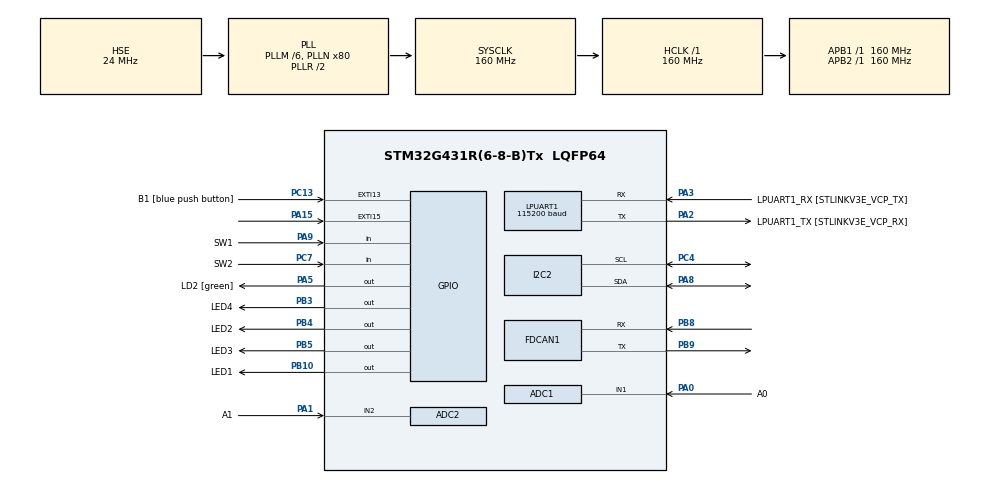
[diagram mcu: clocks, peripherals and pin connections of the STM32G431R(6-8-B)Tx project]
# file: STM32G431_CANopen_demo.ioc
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ADC1.Channel-0\#ChannelRegularConversion=ADC_CHANNEL_1
ADC1.ContinuousConvMode=DISABLE
ADC1.NbrOfConversionFlag=1
ADC1.OffsetNumber-0\#ChannelRegularConversion=ADC_OFFSET_NONE
ADC1.Rank-0\#ChannelRegularConversion=1
ADC1.SamplingTime-0\#ChannelRegularConversion=ADC_SAMPLETIME_2CYCLES_5
ADC1.master=1
ADC2.Channel-0\#ChannelRegularConversion=ADC_CHANNEL_2
ADC2.NbrOfConversionFlag=1
ADC2.OffsetNumber-0\#ChannelRegularConversion=ADC_OFFSET_NONE
ADC2.Rank-0\#ChannelRegularConversion=1
ADC2.SamplingTime-0\#ChannelRegularConversion=ADC_SAMPLETIME_2CYCLES_5
FDCAN1.CalculateBaudRateNominal=1000000
FDCAN1.CalculateTimeBitNominal=1000
FDCAN1.CalculateTimeQuantumNominal=200.0
I2C2.Timing=0x30909DEC
LPUART1.BaudRate=115200
LPUART1.WordLength=UART_WORDLENGTH_8B
Mcu.Family=STM32G4
Mcu.Name=STM32G431R(6-8-B)Tx
Mcu.Package=LQFP64
NVIC.FDCAN1_IT0_IRQn=true\:0\:0\:false\:false\:true\:true\:true\:true
NVIC.FDCAN1_IT1_IRQn=true\:0\:0\:false\:false\:true\:true\:true\:true
NVIC.PriorityGroup=NVIC_PRIORITYGROUP_4
NVIC.TIM7_IRQn=true\:0\:0\:false\:false\:true\:true\:true\:true
PA0.GPIO_Label=A0
PA0.Mode=IN1-Single-Ended
PA0.Signal=ADC1_IN1
PA1.GPIO_Label=A1
PA1.Mode=IN2-Single-Ended
PA1.Signal=ADC2_IN2
PA13.GPIO_Label=T_SWDIO
PA13.Mode=Serial_Wire
PA13.Signal=SYS_JTMS-SWDIO
PA14.GPIO_Label=T_SWCLK
PA14.Mode=Serial_Wire
PA14.Signal=SYS_JTCK-SWCLK
PA15.Signal=GPXTI15
PA2.GPIO_Label=LPUART1_TX [STLINKV3E_VCP_RX]
PA2.Mode=Asynchronous
PA2.Signal=LPUART1_TX
PA3.GPIO_Label=LPUART1_RX [STLINKV3E_VCP_TX]
PA3.Mode=Asynchronous
PA3.Signal=LPUART1_RX
PA5.GPIO_Label=LD2 [green]
PA5.Signal=GPIO_Output
PA8.Mode=I2C
PA8.Signal=I2C2_SDA
PA9.GPIO_Label=SW1
PA9.GPIO_PuPd=GPIO_PULLUP
PA9.Signal=GPIO_Input
PB10.GPIO_Label=LED1
PB10.Signal=GPIO_Output
PB3.GPIO_Label=LED4
PB3.PinState=GPIO_PIN_RESET
PB3.Signal=GPIO_Output
PB4.GPIO_Label=LED2
PB4.Signal=GPIO_Output
PB5.GPIO_Label=LED3
PB5.Signal=GPIO_Output
PB8-BOOT0.Mode=FDCAN_Activate
PB8-BOOT0.Signal=FDCAN1_RX
PB9.Mode=FDCAN_Activate
PB9.Signal=FDCAN1_TX
PC13.GPIO_Label=B1 [blue push button]
PC13.Signal=GPXTI13
PC14-OSC32_IN.Mode=LSE-External-Oscillator
PC14-OSC32_IN.Signal=RCC_OSC32_IN
PC15-OSC32_OUT.Mode=LSE-External-Oscillator
PC15-OSC32_OUT.Signal=RCC_OSC32_OUT
PC4.Mode=I2C
PC4.Signal=I2C2_SCL
PC7.GPIO_Label=SW2
PC7.GPIO_PuPd=GPIO_PULLUP
PC7.Signal=GPIO_Input
PF0-OSC_IN.Mode=HSE-External-Oscillator
PF0-OSC_IN.Signal=RCC_OSC_IN
PF1-OSC_OUT.Mode=HSE-External-Oscillator
PF1-OSC_OUT.Signal=RCC_OSC_OUT
ProjectManager.HeapSize=0x200
ProjectManager.StackSize=0x400
ProjectManager.TargetToolchain=STM32CubeIDE
RCC.ADC12Freq_Value=160000000
RCC.AHBFreq_Value=160000000
RCC.APB1Freq_Value=160000000
RCC.APB1TimFreq_Value=160000000
RCC.APB2Freq_Value=160000000
RCC.APB2TimFreq_Value=160000000
RCC.CortexFreq_Value=160000000
RCC.EXTERNAL_CLOCK_VALUE=12288000
RCC.FDCANCLockSelection=RCC_FDCANCLKSOURCE_PLL
RCC.HCLKFreq_Value=160000000
RCC.HSE_VALUE=24000000
RCC.HSI48_VALUE=48000000
RCC.HSI_VALUE=16000000
RCC.PLLM=RCC_PLLM_DIV6
RCC.PLLN=80
RCC.PLLQ=RCC_PLLQ_DIV4
RCC.PLLSourceVirtual=RCC_PLLSOURCE_HSE
RCC.RTCClockSelection=RCC_RTCCLKSOURCE_LSE
RCC.SYSCLKFreq_VALUE=160000000
RCC.SYSCLKSource=RCC_SYSCLKSOURCE_PLLCLK
RCC.USBFreq_Value=80000000
RCC.VCOOutputFreq_Value=320000000
TIM7.PeriodNoDither=1000
VP_SYS_VS_DBSignals.Mode=DisableDeadBatterySignals
VP_TIM7_VS_ClockSourceINT.Mode=Enable_Timer
board=NUCLEO-G431RB

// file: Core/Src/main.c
/* USER CODE BEGIN Header */
/**
  ******************************************************************************
  * @file           : main.c
  * @brief          : Main program body
  ******************************************************************************
  * @attention
  *
  * Copyright (c) 2023 STMicroelectronics.
  * All rights reserved.
  *
  * This software is licensed under terms that can be found in the LICENSE file
  * in the root directory of this software component.
  * If no LICENSE file comes with this software, it is provided AS-IS.
  *
  ******************************************************************************
  */
/* USER CODE END Header */
#include "main.h"

/* USER CODE BEGIN Includes */
/*
 * STM32G431 CANopen demo skpang.co.uk 07/23
 *
 * This demo uses the CANopenNode from:
 * https://github.com/CANopenNode/CANopenNode
 *
 * Also STM32 port:
 * https://github.com/CANopenNode/CanOpenSTM32
 *
 */
#include "CO_app_STM32.h"
#include "OD.h"
#include "CANopen.h"
#include "skp_can.h"
#include "../CANopenNode/301/CO_SDOserver.h"
/* USER CODE END Includes */

ADC_HandleTypeDef hadc1;
ADC_HandleTypeDef hadc2;

FDCAN_HandleTypeDef hfdcan1;

I2C_HandleTypeDef hi2c2;

UART_HandleTypeDef hlpuart1;

TIM_HandleTypeDef htim7;

void SystemClock_Config(void);
static void MX_GPIO_Init(void);
static void MX_LPUART1_UART_Init(void);
static void MX_FDCAN1_Init(void);
static void MX_ADC1_Init(void);
static void MX_I2C2_Init(void);
static void MX_ADC2_Init(void);
static void MX_TIM7_Init(void);
/* USER CODE BEGIN PFP */
#ifdef __GNUC__
/* With GCC, small printf (option LD Linker->Libraries->Small printf
   set to 'Yes') calls __io_putchar() */
#define PUTCHAR_PROTOTYPE int __io_putchar(int ch)
#else
#define PUTCHAR_PROTOTYPE int fputc(int ch, FILE *f)
#endif /* __GNUC__ */
/* USER CODE END PFP */

/* USER CODE BEGIN 0 */
uint32_t systick;

FDCAN_RxHeaderTypeDef RxHeader;
uint8_t RxData[64];
FDCAN_TxHeaderTypeDef TxHeader;
uint8_t TxData[64];

CO_SDO_abortCode_t write_SDO(CO_SDOclient_t *SDO_C, uint8_t nodeId,
                             uint16_t index, uint8_t subIndex,
                             uint8_t *data, size_t dataSize)
{
    CO_SDO_return_t SDO_ret;
    bool_t bufferPartial = false;

    // setup client (this can be skipped, if remote device is the same)
    SDO_ret = CO_SDOclient_setup(SDO_C,
                                 CO_CAN_ID_SDO_CLI + nodeId,
                                 CO_CAN_ID_SDO_SRV + nodeId,
                                 nodeId);
    if (SDO_ret != CO_SDO_RT_ok_communicationEnd) {
        return -1;
    }

    // initiate download
    SDO_ret = CO_SDOclientDownloadInitiate(SDO_C, index, subIndex,
                                           dataSize, 1000, false);
    if (SDO_ret != CO_SDO_RT_ok_communicationEnd) {
        return -1;
    }

    // fill data
    size_t nWritten = CO_SDOclientDownloadBufWrite(SDO_C, data, dataSize);
    if (nWritten < dataSize) {
        bufferPartial = true;
        // If SDO Fifo buffer is too small, data can be refilled in the loop.
    }

    //download data
    do {
        uint32_t timeDifference_us = 10000;
        CO_SDO_abortCode_t abortCode = CO_SDO_AB_NONE;

        SDO_ret = CO_SDOclientDownload(SDO_C,
                                       timeDifference_us,
                                       false,
                                       bufferPartial,
                                       &abortCode,
                                       NULL, NULL);
        if (SDO_ret < 0) {
            return abortCode;
        }

        HAL_Delay(1);

        //sleep_us(timeDifference_us);
    } while(SDO_ret > 0);

    return CO_SDO_AB_NONE;
}

CO_SDO_abortCode_t read_SDO(CO_SDOclient_t *SDO_C, uint8_t nodeId,
                            uint16_t index, uint8_t subIndex,
                            uint8_t *buf, size_t bufSize, size_t *readSize)
{
    CO_SDO_return_t SDO_ret;

    // setup client (this can be skipped, if remote device don't change)
    SDO_ret = CO_SDOclient_setup(SDO_C,
                                 CO_CAN_ID_SDO_CLI + nodeId,
                                 CO_CAN_ID_SDO_SRV + nodeId,
                                 nodeId);
    if (SDO_ret != CO_SDO_RT_ok_communicationEnd) {
        return CO_SDO_AB_GENERAL;
    }

    // initiate upload
    SDO_ret = CO_SDOclientUploadInitiate(SDO_C, index, subIndex, 1000, false);
    if (SDO_ret != CO_SDO_RT_ok_communicationEnd) {
        return CO_SDO_AB_GENERAL;
    }

    // upload data
    do {
        uint32_t timeDifference_us = 10000;
        CO_SDO_abortCode_t abortCode = CO_SDO_AB_NONE;

        SDO_ret = CO_SDOclientUpload(SDO_C,
                                     timeDifference_us,
                                     false,
                                     &abortCode,
                                     NULL, NULL, NULL);
        if (SDO_ret < 0) {
            return abortCode;
        }

        HAL_Delay(1);//  sleep_us(timeDifference_us);
    } while(SDO_ret > 0);

    // copy data to the user buffer (for long data function must be called
    // several times inside the loop)
    *readSize = CO_SDOclientUploadBufRead(SDO_C, buf, bufSize);

    return CO_SDO_AB_NONE;
}
/* USER CODE END 0 */

int main(void)
{
  /* USER CODE BEGIN 1 */
  uint32_t tick = 0;
  uint16_t i=0;
  uint16_t A0,A1;

  /* USER CODE END 1 */

  /* MCU Configuration--------------------------------------------------------*/

  /* Reset of all peripherals, Initializes the Flash interface and the Systick. */
  HAL_Init();

  /* Configure the system clock */
  SystemClock_Config();

  /* Initialize all configured peripherals */
  MX_GPIO_Init();
  MX_LPUART1_UART_Init();
  MX_FDCAN1_Init();
  MX_ADC1_Init();
  MX_I2C2_Init();
  MX_ADC2_Init();
  MX_TIM7_Init();
  /* USER CODE BEGIN 2 */
  printf("\n\n#########################################\n");
  printf("STM32G431 CANopen demo using CANopenNode stack skpang.co.uk 7/23\n");

  CANopenNodeSTM32  canopenNodeSTM32;
  canopenNodeSTM32.CANHandle = &hfdcan1;
  canopenNodeSTM32.HWInitFunction = MX_FDCAN1_Init;
  canopenNodeSTM32.timerHandle = &htim7;
  canopenNodeSTM32.desiredNodeID = 5;
  canopenNodeSTM32.baudrate =125;
  canopen_app_init(&canopenNodeSTM32);

  skp_can_init();		//500kbps
  FDCAN_Config();

  HAL_GPIO_WritePin(LED1_GPIO_Port, LED1_Pin, GPIO_PIN_SET);
  HAL_Delay(200);
  HAL_GPIO_WritePin(LED1_GPIO_Port, LED1_Pin, GPIO_PIN_RESET);

  HAL_GPIO_WritePin(LED2_GPIO_Port, LED2_Pin, GPIO_PIN_SET);
  HAL_Delay(200);
  HAL_GPIO_WritePin(LED2_GPIO_Port, LED2_Pin, GPIO_PIN_RESET);

  HAL_GPIO_WritePin(LED3_GPIO_Port, LED3_Pin, GPIO_PIN_SET);
  HAL_Delay(200);
  HAL_GPIO_WritePin(LED3_GPIO_Port, LED3_Pin, GPIO_PIN_RESET);

  HAL_GPIO_WritePin(LED4_GPIO_Port, LED4_Pin, GPIO_PIN_SET);
  HAL_Delay(200);
  HAL_GPIO_WritePin(LED4_GPIO_Port, LED4_Pin, GPIO_PIN_RESET);

/*
    uint32_t G0DeviceType;
    uint32_t amountRead;
    uint8_t tmp = 0;
    uint8_t tog = 0;

   // write_SDO(canopenNodeSTM32.canOpenStack->SDOclient,0x20,0x6000,00,&tmp,1);
   //read_SDO(canopenNodeSTM32.canOpenStack->SDOclient,0x07,0x1000,0,&G0DeviceType,4,&amountRead);
   // printf("Mix1 device type : %x %x %d\n",amountRead,G0DeviceType,G0DeviceType);

    if(tog == 0)
    {
  	  tog =1;
  	  tmp = 0;
  	  write_SDO(canopenNodeSTM32.canOpenStack->SDOclient,0x06,0x6200,01,&tmp,1);
    }else
    {
  	  tog =0;
  	  tmp = 0xff;
  	  write_SDO(canopenNodeSTM32.canOpenStack->SDOclient,0x06,0x6200,01,&tmp,1);

    }
*/

  /* USER CODE END 2 */

  /* Infinite loop */
  while (1)
  {

    /* USER CODE BEGIN 3 */
	  canopen_app_process();

	  if(systick - tick > 100)
      {
		     HAL_ADC_Start(&hadc1);
			 HAL_ADC_PollForConversion(&hadc1,HAL_MAX_DELAY);
			 A0 = HAL_ADC_GetValue(&hadc1);

			 HAL_ADC_Start(&hadc2);
			 HAL_ADC_PollForConversion(&hadc2,HAL_MAX_DELAY);
			 A1 = HAL_ADC_GetValue(&hadc2);

			  printf("ADC A0: %d   A1: %d  Output:%x\n",A0,A1,OD_RAM.x6200_writeOutput8Bit[0]);
			  OD_RAM.x6401_readAnalogueInput16Bit[0] = A0;
			  OD_RAM.x6401_readAnalogueInput16Bit[1] = A1;
			  OD_RAM.x6000_readInput8Bit[0] = (HAL_GPIO_ReadPin(SW2_GPIO_Port,SW2_Pin)<<1) | HAL_GPIO_ReadPin(SW1_GPIO_Port,SW1_Pin);

			  if(OD_RAM.x6200_writeOutput8Bit[0] & 1<<2)
			  {
				  HAL_GPIO_WritePin(LED3_GPIO_Port, LED3_Pin, GPIO_PIN_SET);

			  }else
				  HAL_GPIO_WritePin(LED3_GPIO_Port, LED3_Pin, GPIO_PIN_RESET);

			  if(OD_RAM.x6200_writeOutput8Bit[0] & 1<<3)
			  {
				  HAL_GPIO_WritePin(LED4_GPIO_Port, LED4_Pin, GPIO_PIN_SET);

			  }else
				  HAL_GPIO_WritePin(LED4_GPIO_Port, LED4_Pin, GPIO_PIN_RESET);

    	  HAL_GPIO_TogglePin(LD2_GPIO_Port, LD2_Pin);

    	  tick = systick;
    	  /*
          if (HAL_FDCAN_AddMessageToTxFifoQ(&hfdcan1, &TxHeader, TxData) != HAL_OK)
    	         {
    	        	  printf("Tx error\n");
    		           Error_Handler();
   		         }
     	   TxData[1] = i>>8;
    	   TxData[0] = i++;
			*/

      }

  }
  /* USER CODE END 3 */
}

void SystemClock_Config(void)
{
  RCC_OscInitTypeDef RCC_OscInitStruct = {0};
  RCC_ClkInitTypeDef RCC_ClkInitStruct = {0};

  /** Configure the main internal regulator output voltage
  */
  HAL_PWREx_ControlVoltageScaling(PWR_REGULATOR_VOLTAGE_SCALE1_BOOST);

  /** Initializes the RCC Oscillators according to the specified parameters
  * in the RCC_OscInitTypeDef structure.
  */
  RCC_OscInitStruct.OscillatorType = RCC_OSCILLATORTYPE_HSE;
  RCC_OscInitStruct.HSEState = RCC_HSE_ON;
  RCC_OscInitStruct.PLL.PLLState = RCC_PLL_ON;
  RCC_OscInitStruct.PLL.PLLSource = RCC_PLLSOURCE_HSE;
  RCC_OscInitStruct.PLL.PLLM = RCC_PLLM_DIV6;
  RCC_OscInitStruct.PLL.PLLN = 80;
  RCC_OscInitStruct.PLL.PLLP = RCC_PLLP_DIV2;
  RCC_OscInitStruct.PLL.PLLQ = RCC_PLLQ_DIV4;
  RCC_OscInitStruct.PLL.PLLR = RCC_PLLR_DIV2;
  if (HAL_RCC_OscConfig(&RCC_OscInitStruct) != HAL_OK)
  {
    Error_Handler();
  }

  /** Initializes the CPU, AHB and APB buses clocks
  */
  RCC_ClkInitStruct.ClockType = RCC_CLOCKTYPE_HCLK|RCC_CLOCKTYPE_SYSCLK
                              |RCC_CLOCKTYPE_PCLK1|RCC_CLOCKTYPE_PCLK2;
  RCC_ClkInitStruct.SYSCLKSource = RCC_SYSCLKSOURCE_PLLCLK;
  RCC_ClkInitStruct.AHBCLKDivider = RCC_SYSCLK_DIV1;
  RCC_ClkInitStruct.APB1CLKDivider = RCC_HCLK_DIV1;
  RCC_ClkInitStruct.APB2CLKDivider = RCC_HCLK_DIV1;

  if (HAL_RCC_ClockConfig(&RCC_ClkInitStruct, FLASH_LATENCY_4) != HAL_OK)
  {
    Error_Handler();
  }
}

static void MX_ADC1_Init(void)
{

  ADC_MultiModeTypeDef multimode = {0};
  ADC_ChannelConfTypeDef sConfig = {0};

  /** Common config
  */
  hadc1.Instance = ADC1;
  hadc1.Init.ClockPrescaler = ADC_CLOCK_SYNC_PCLK_DIV4;
  hadc1.Init.Resolution = ADC_RESOLUTION_12B;
  hadc1.Init.DataAlign = ADC_DATAALIGN_RIGHT;
  hadc1.Init.GainCompensation = 0;
  hadc1.Init.ScanConvMode = ADC_SCAN_DISABLE;
  hadc1.Init.EOCSelection = ADC_EOC_SINGLE_CONV;
  hadc1.Init.LowPowerAutoWait = DISABLE;
  hadc1.Init.ContinuousConvMode = DISABLE;
  hadc1.Init.NbrOfConversion = 1;
  hadc1.Init.DiscontinuousConvMode = DISABLE;
  hadc1.Init.ExternalTrigConv = ADC_SOFTWARE_START;
  hadc1.Init.ExternalTrigConvEdge = ADC_EXTERNALTRIGCONVEDGE_NONE;
  hadc1.Init.DMAContinuousRequests = DISABLE;
  hadc1.Init.Overrun = ADC_OVR_DATA_PRESERVED;
  hadc1.Init.OversamplingMode = DISABLE;
  if (HAL_ADC_Init(&hadc1) != HAL_OK)
  {
    Error_Handler();
  }

  /** Configure the ADC multi-mode
  */
  multimode.Mode = ADC_MODE_INDEPENDENT;
  if (HAL_ADCEx_MultiModeConfigChannel(&hadc1, &multimode) != HAL_OK)
  {
    Error_Handler();
  }

  /** Configure Regular Channel
  */
  sConfig.Channel = ADC_CHANNEL_1;
  sConfig.Rank = ADC_REGULAR_RANK_1;
  sConfig.SamplingTime = ADC_SAMPLETIME_2CYCLES_5;
  sConfig.SingleDiff = ADC_SINGLE_ENDED;
  sConfig.OffsetNumber = ADC_OFFSET_NONE;
  sConfig.Offset = 0;
  if (HAL_ADC_ConfigChannel(&hadc1, &sConfig) != HAL_OK)
  {
    Error_Handler();
  }

}

static void MX_ADC2_Init(void)
{

  ADC_ChannelConfTypeDef sConfig = {0};

  /** Common config
  */
  hadc2.Instance = ADC2;
  hadc2.Init.ClockPrescaler = ADC_CLOCK_SYNC_PCLK_DIV4;
  hadc2.Init.Resolution = ADC_RESOLUTION_12B;
  hadc2.Init.DataAlign = ADC_DATAALIGN_RIGHT;
  hadc2.Init.GainCompensation = 0;
  hadc2.Init.ScanConvMode = ADC_SCAN_DISABLE;
  hadc2.Init.EOCSelection = ADC_EOC_SINGLE_CONV;
  hadc2.Init.LowPowerAutoWait = DISABLE;
  hadc2.Init.ContinuousConvMode = DISABLE;
  hadc2.Init.NbrOfConversion = 1;
  hadc2.Init.DiscontinuousConvMode = DISABLE;
  hadc2.Init.ExternalTrigConv = ADC_SOFTWARE_START;
  hadc2.Init.ExternalTrigConvEdge = ADC_EXTERNALTRIGCONVEDGE_NONE;
  hadc2.Init.DMAContinuousRequests = DISABLE;
  hadc2.Init.Overrun = ADC_OVR_DATA_PRESERVED;
  hadc2.Init.OversamplingMode = DISABLE;
  if (HAL_ADC_Init(&hadc2) != HAL_OK)
  {
    Error_Handler();
  }

  /** Configure Regular Channel
  */
  sConfig.Channel = ADC_CHANNEL_2;
  sConfig.Rank = ADC_REGULAR_RANK_1;
  sConfig.SamplingTime = ADC_SAMPLETIME_2CYCLES_5;
  sConfig.SingleDiff = ADC_SINGLE_ENDED;
  sConfig.OffsetNumber = ADC_OFFSET_NONE;
  sConfig.Offset = 0;
  if (HAL_ADC_ConfigChannel(&hadc2, &sConfig) != HAL_OK)
  {
    Error_Handler();
  }

}

static void MX_FDCAN1_Init(void)
{

  hfdcan1.Instance = FDCAN1;
  hfdcan1.Init.ClockDivider = FDCAN_CLOCK_DIV1;
  hfdcan1.Init.FrameFormat = FDCAN_FRAME_CLASSIC;
  hfdcan1.Init.Mode = FDCAN_MODE_NORMAL;
  hfdcan1.Init.AutoRetransmission = DISABLE;
  hfdcan1.Init.TransmitPause = DISABLE;
  hfdcan1.Init.ProtocolException = DISABLE;
  hfdcan1.Init.NominalPrescaler = 16;
  hfdcan1.Init.NominalSyncJumpWidth = 1;
  hfdcan1.Init.NominalTimeSeg1 = 2;
  hfdcan1.Init.NominalTimeSeg2 = 2;
  hfdcan1.Init.DataPrescaler = 1;
  hfdcan1.Init.DataSyncJumpWidth = 1;
  hfdcan1.Init.DataTimeSeg1 = 1;
  hfdcan1.Init.DataTimeSeg2 = 1;
  hfdcan1.Init.StdFiltersNbr = 0;
  hfdcan1.Init.ExtFiltersNbr = 0;
  hfdcan1.Init.TxFifoQueueMode = FDCAN_TX_FIFO_OPERATION;
  if (HAL_FDCAN_Init(&hfdcan1) != HAL_OK)
  {
    Error_Handler();
  }

}

static void MX_I2C2_Init(void)
{

  hi2c2.Instance = I2C2;
  hi2c2.Init.Timing = 0x30909DEC;
  hi2c2.Init.OwnAddress1 = 0;
  hi2c2.Init.AddressingMode = I2C_ADDRESSINGMODE_7BIT;
  hi2c2.Init.DualAddressMode = I2C_DUALADDRESS_DISABLE;
  hi2c2.Init.OwnAddress2 = 0;
  hi2c2.Init.OwnAddress2Masks = I2C_OA2_NOMASK;
  hi2c2.Init.GeneralCallMode = I2C_GENERALCALL_DISABLE;
  hi2c2.Init.NoStretchMode = I2C_NOSTRETCH_DISABLE;
  if (HAL_I2C_Init(&hi2c2) != HAL_OK)
  {
    Error_Handler();
  }

  /** Configure Analogue filter
  */
  if (HAL_I2CEx_ConfigAnalogFilter(&hi2c2, I2C_ANALOGFILTER_ENABLE) != HAL_OK)
  {
    Error_Handler();
  }

  /** Configure Digital filter
  */
  if (HAL_I2CEx_ConfigDigitalFilter(&hi2c2, 0) != HAL_OK)
  {
    Error_Handler();
  }

}

static void MX_LPUART1_UART_Init(void)
{

  hlpuart1.Instance = LPUART1;
  hlpuart1.Init.BaudRate = 115200;
  hlpuart1.Init.WordLength = UART_WORDLENGTH_8B;
  hlpuart1.Init.StopBits = UART_STOPBITS_1;
  hlpuart1.Init.Parity = UART_PARITY_NONE;
  hlpuart1.Init.Mode = UART_MODE_TX_RX;
  hlpuart1.Init.HwFlowCtl = UART_HWCONTROL_NONE;
  hlpuart1.Init.OneBitSampling = UART_ONE_BIT_SAMPLE_DISABLE;
  hlpuart1.Init.ClockPrescaler = UART_PRESCALER_DIV1;
  hlpuart1.AdvancedInit.AdvFeatureInit = UART_ADVFEATURE_NO_INIT;
  if (HAL_UART_Init(&hlpuart1) != HAL_OK)
  {
    Error_Handler();
  }
  if (HAL_UARTEx_SetTxFifoThreshold(&hlpuart1, UART_TXFIFO_THRESHOLD_1_8) != HAL_OK)
  {
    Error_Handler();
  }
  if (HAL_UARTEx_SetRxFifoThreshold(&hlpuart1, UART_RXFIFO_THRESHOLD_1_8) != HAL_OK)
  {
    Error_Handler();
  }
  if (HAL_UARTEx_DisableFifoMode(&hlpuart1) != HAL_OK)
  {
    Error_Handler();
  }

}

static void MX_TIM7_Init(void)
{

  TIM_MasterConfigTypeDef sMasterConfig = {0};

  htim7.Instance = TIM7;
  htim7.Init.Prescaler = 0;
  htim7.Init.CounterMode = TIM_COUNTERMODE_UP;
  htim7.Init.Period = 1000;
  htim7.Init.AutoReloadPreload = TIM_AUTORELOAD_PRELOAD_DISABLE;
  if (HAL_TIM_Base_Init(&htim7) != HAL_OK)
  {
    Error_Handler();
  }
  sMasterConfig.MasterOutputTrigger = TIM_TRGO_RESET;
  sMasterConfig.MasterSlaveMode = TIM_MASTERSLAVEMODE_DISABLE;
  if (HAL_TIMEx_MasterConfigSynchronization(&htim7, &sMasterConfig) != HAL_OK)
  {
    Error_Handler();
  }

}

static void MX_GPIO_Init(void)
{
  GPIO_InitTypeDef GPIO_InitStruct = {0};

  /* GPIO Ports Clock Enable */
  __HAL_RCC_GPIOC_CLK_ENABLE();
  __HAL_RCC_GPIOF_CLK_ENABLE();
  __HAL_RCC_GPIOA_CLK_ENABLE();
  __HAL_RCC_GPIOB_CLK_ENABLE();

  /*Configure GPIO pin Output Level */
  HAL_GPIO_WritePin(LD2_GPIO_Port, LD2_Pin, GPIO_PIN_RESET);

  /*Configure GPIO pin Output Level */
  HAL_GPIO_WritePin(GPIOB, LED1_Pin|LED4_Pin|LED2_Pin|LED3_Pin, GPIO_PIN_RESET);

  /*Configure GPIO pin : B1_Pin */
  GPIO_InitStruct.Pin = B1_Pin;
  GPIO_InitStruct.Mode = GPIO_MODE_IT_RISING;
  GPIO_InitStruct.Pull = GPIO_NOPULL;
  HAL_GPIO_Init(B1_GPIO_Port, &GPIO_InitStruct);

  /*Configure GPIO pin : LD2_Pin */
  GPIO_InitStruct.Pin = LD2_Pin;
  GPIO_InitStruct.Mode = GPIO_MODE_OUTPUT_PP;
  GPIO_InitStruct.Pull = GPIO_NOPULL;
  GPIO_InitStruct.Speed = GPIO_SPEED_FREQ_LOW;
  HAL_GPIO_Init(LD2_GPIO_Port, &GPIO_InitStruct);

  /*Configure GPIO pins : LED1_Pin LED4_Pin LED2_Pin LED3_Pin */
  GPIO_InitStruct.Pin = LED1_Pin|LED4_Pin|LED2_Pin|LED3_Pin;
  GPIO_InitStruct.Mode = GPIO_MODE_OUTPUT_PP;
  GPIO_InitStruct.Pull = GPIO_NOPULL;
  GPIO_InitStruct.Speed = GPIO_SPEED_FREQ_LOW;
  HAL_GPIO_Init(GPIOB, &GPIO_InitStruct);

  /*Configure GPIO pin : SW2_Pin */
  GPIO_InitStruct.Pin = SW2_Pin;
  GPIO_InitStruct.Mode = GPIO_MODE_INPUT;
  GPIO_InitStruct.Pull = GPIO_PULLUP;
  HAL_GPIO_Init(SW2_GPIO_Port, &GPIO_InitStruct);

  /*Configure GPIO pin : SW1_Pin */
  GPIO_InitStruct.Pin = SW1_Pin;
  GPIO_InitStruct.Mode = GPIO_MODE_INPUT;
  GPIO_InitStruct.Pull = GPIO_PULLUP;
  HAL_GPIO_Init(SW1_GPIO_Port, &GPIO_InitStruct);

  /*Configure GPIO pin : PA15 */
  GPIO_InitStruct.Pin = GPIO_PIN_15;
  GPIO_InitStruct.Mode = GPIO_MODE_IT_RISING;
  GPIO_InitStruct.Pull = GPIO_NOPULL;
  HAL_GPIO_Init(GPIOA, &GPIO_InitStruct);

}

/* USER CODE BEGIN 4 */
PUTCHAR_PROTOTYPE
{
  /* Place your implementation of fputc here */
  /* e.g. write a character to the LPUART1 and Loop until the end of transmission */
  HAL_UART_Transmit(&hlpuart1, (uint8_t *)&ch, 1, 0xFFFF);

  return ch;
}

/* USER CODE END 4 */

void Error_Handler(void)
{
  __disable_irq();
  while (1)
  {
  }
}
